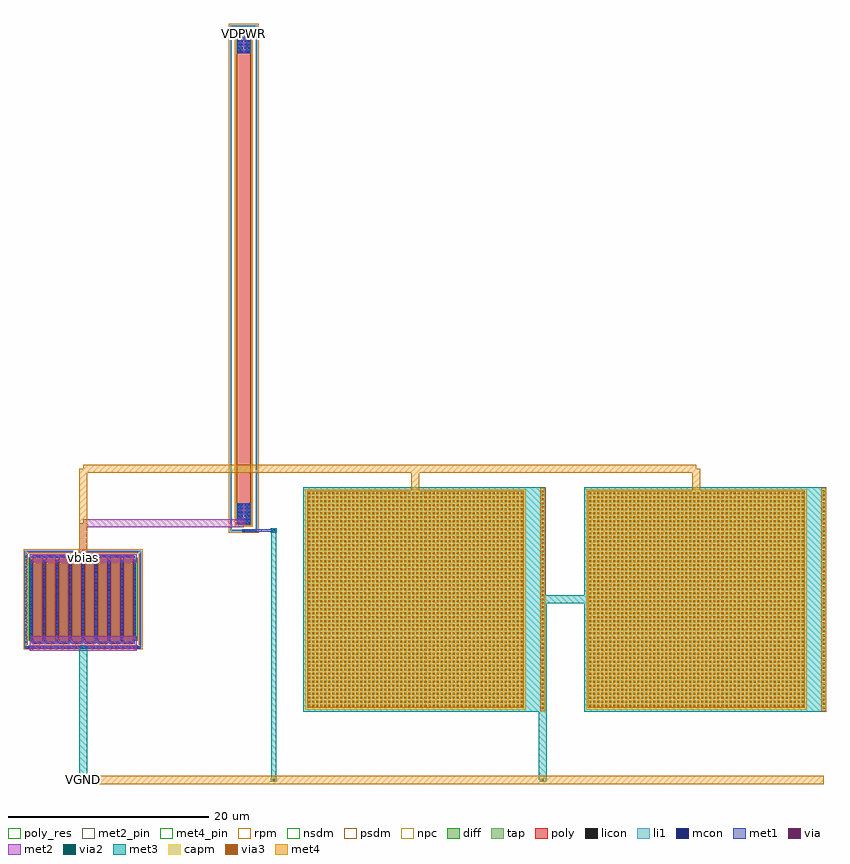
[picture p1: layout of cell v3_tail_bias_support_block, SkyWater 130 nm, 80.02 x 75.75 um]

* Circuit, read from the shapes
.subckt v3_tail_bias_support_block VDPWR VGND vbias
XM1 VGND vbias vbias VGND sky130_fd_pr__nfet_01v8 w=8 l=1 m=8
XC2 vbias VGND sky130_fd_pr__cap_mim_m3_1 w=22 l=22 m=2
XR3 VDPWR vbias VGND sky130_fd_pr__res_high_po w=1.41 l=44.86
.ends

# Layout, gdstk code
import gdstk
lib = gdstk.Library(unit=1e-6, precision=1e-09)
def R(c, l, rs):  # rectangles x0, y0, x1, y1
    for r in rs: c.add(gdstk.rectangle(r[:2], r[2:], *l))
def A(c, l, x, y, w, h, nx, ny, dx, dy):  # array of equal rectangles
    R(c, l, [(x+i*dx, y+j*dy, x+i*dx+w, y+j*dy+h) for i in range(nx) for j in range(ny)])
diff = (65, 20)
tap = (65, 44)
poly_res = (66, 13)
poly = (66, 20)
licon = (66, 44)
li1 = (67, 20)
mcon = (67, 44)
met1 = (68, 20)
via = (68, 44)
met2_pin = (69, 16)
met2 = (69, 20)
via2 = (69, 44)
met3 = (70, 20)
via3 = (70, 44)
met4_pin = (71, 16)
met4 = (71, 20)
rpm = (86, 20)
capm = (89, 44)
nsdm = (93, 44)
psdm = (94, 20)
npc = (95, 20)

v3_tail_bias_support_blo = lib.new_cell('v3_tail_bias_support_block')
R(v3_tail_bias_support_blo, diff, [(188.695,44,199.305,52)])
R(v3_tail_bias_support_blo, tap, [(188.185,43.13,199.815,43.3), (188.185,43.3,188.355,52.7), (199.645,43.3,199.815,52.7), (188.185,52.7,199.815,52.87), (208.645,54.78,211.355,54.95), (208.645,54.95,208.815,105.05), (211.185,54.95,211.355,105.05), (208.645,105.05,211.355,105.22)])
R(v3_tail_bias_support_blo, poly_res, [(209.295,57.51,210.705,102.49)])
A(v3_tail_bias_support_blo, poly, 188.985, 43.56, 1, 8.88, 8, 1, 1.29, 0)
R(v3_tail_bias_support_blo, poly, [(209.295,55.43,210.705,104.57)])
A(v3_tail_bias_support_blo, licon, 188.815, 43.13, 0.17, 0.17, 31, 2, 0.34, 9.57)
A(v3_tail_bias_support_blo, licon, 188.185, 43.665, 0.17, 0.17, 1, 26, 0, 0.34)
A(v3_tail_bias_support_blo, licon, 199.645, 43.665, 0.17, 0.17, 1, 26, 0, 0.34)
A(v3_tail_bias_support_blo, licon, 188.755, 44.175, 0.17, 0.17, 9, 23, 1.29, 0.34)
A(v3_tail_bias_support_blo, licon, 209.235, 54.78, 0.17, 0.17, 5, 2, 0.34, 50.27)
A(v3_tail_bias_support_blo, licon, 208.645, 55.265, 0.17, 0.17, 1, 146, 0, 0.34)
A(v3_tail_bias_support_blo, licon, 211.185, 55.265, 0.17, 0.17, 1, 146, 0, 0.34)
R(v3_tail_bias_support_blo, licon, [(189.23,43.64,189.4,43.81), (189.57,43.64,189.74,43.81), (190.52,43.64,190.69,43.81), (190.86,43.64,191.03,43.81), (191.81,43.64,191.98,43.81), (192.15,43.64,192.32,43.81), (193.1,43.64,193.27,43.81), (193.44,43.64,193.61,43.81), (194.39,43.64,194.56,43.81), (194.73,43.64,194.9,43.81), (195.68,43.64,195.85,43.81), (196.02,43.64,196.19,43.81), (196.97,43.64,197.14,43.81), (197.31,43.64,197.48,43.81), (198.26,43.64,198.43,43.81), (198.6,43.64,198.77,43.81), (189.23,52.19,189.4,52.36), (189.57,52.19,189.74,52.36), (190.52,52.19,190.69,52.36), (190.86,52.19,191.03,52.36), (191.81,52.19,191.98,52.36), (192.15,52.19,192.32,52.36), (193.1,52.19,193.27,52.36), (193.44,52.19,193.61,52.36), (194.39,52.19,194.56,52.36), (194.73,52.19,194.9,52.36), (195.68,52.19,195.85,52.36), (196.02,52.19,196.19,52.36), (196.97,52.19,197.14,52.36), (197.31,52.19,197.48,52.36), (198.26,52.19,198.43,52.36), (198.6,52.19,198.77,52.36), (209.55,55.51,209.74,57.51), (210.26,55.51,210.45,57.51), (209.55,102.49,209.74,104.49), (210.26,102.49,210.45,104.49)])
A(v3_tail_bias_support_blo, li1, 188.755, 43.98, 0.17, 8.04, 9, 1, 1.29, 0)
R(v3_tail_bias_support_blo, li1, [(188.185,43.13,199.815,43.3), (188.185,43.3,188.355,52.7), (199.645,43.3,199.815,52.7), (188.84,43.64,199.16,43.81), (188.84,52.19,199.16,52.36), (188.185,52.7,199.815,52.87), (208.645,54.78,211.355,54.95), (208.645,54.95,208.815,105.05), (211.185,54.95,211.355,105.05), (209.295,55.43,210.705,57.59), (209.295,102.41,210.705,104.57), (208.645,105.05,211.355,105.22)])
A(v3_tail_bias_support_blo, mcon, 188.515, 43.13, 0.17, 0.17, 31, 1, 0.36, 0)
A(v3_tail_bias_support_blo, mcon, 188.755, 44.135, 0.17, 0.17, 9, 22, 1.29, 0.36)
A(v3_tail_bias_support_blo, mcon, 209.375, 55.525, 0.17, 0.17, 4, 6, 0.36, 0.36)
A(v3_tail_bias_support_blo, mcon, 209.375, 102.5, 0.17, 0.17, 4, 6, 0.36, 0.36)
R(v3_tail_bias_support_blo, mcon, [(189.22,43.64,189.39,43.81), (189.58,43.64,189.75,43.81), (190.51,43.64,190.68,43.81), (190.87,43.64,191.04,43.81), (191.8,43.64,191.97,43.81), (192.16,43.64,192.33,43.81), (193.09,43.64,193.26,43.81), (193.45,43.64,193.62,43.81), (194.38,43.64,194.55,43.81), (194.74,43.64,194.91,43.81), (195.67,43.64,195.84,43.81), (196.03,43.64,196.2,43.81), (196.96,43.64,197.13,43.81), (197.32,43.64,197.49,43.81), (198.25,43.64,198.42,43.81), (198.61,43.64,198.78,43.81), (189.22,52.19,189.39,52.36), (189.58,52.19,189.75,52.36), (190.51,52.19,190.68,52.36), (190.87,52.19,191.04,52.36), (191.8,52.19,191.97,52.36), (192.16,52.19,192.33,52.36), (193.09,52.19,193.26,52.36), (193.45,52.19,193.62,52.36), (194.38,52.19,194.55,52.36), (194.74,52.19,194.91,52.36), (195.67,52.19,195.84,52.36), (196.03,52.19,196.2,52.36), (196.96,52.19,197.13,52.36), (197.32,52.19,197.49,52.36), (198.25,52.19,198.42,52.36), (198.61,52.19,198.78,52.36), (209.915,54.78,210.085,54.95)])
A(v3_tail_bias_support_blo, met1, 188.84, 43.055, 0.32, 0.045, 3, 2, 5, 0.275)
A(v3_tail_bias_support_blo, met1, 189.005, 43.61, 0.96, 0.03, 8, 2, 1.29, 0.2)
A(v3_tail_bias_support_blo, met1, 189.97, 43.98, 0.32, 0.32, 4, 1, 2.58, 0)
A(v3_tail_bias_support_blo, met1, 188.725, 44, 0.23, 7.7, 5, 1, 2.58, 0)
A(v3_tail_bias_support_blo, met1, 190.015, 44.3, 0.23, 7.7, 4, 1, 2.58, 0)
A(v3_tail_bias_support_blo, met1, 188.68, 51.7, 0.32, 0.32, 5, 1, 2.58, 0)
A(v3_tail_bias_support_blo, met1, 189.005, 52.16, 0.96, 0.03, 8, 2, 1.29, 0.2)
A(v3_tail_bias_support_blo, met1, 189.325, 52.39, 0.32, 0.09, 8, 1, 1.29, 0)
R(v3_tail_bias_support_blo, met1, [(188.295,43.1,199.705,43.33), (188.84,43.64,199.16,43.81), (188.84,52.19,199.16,52.36), (212.84,54.705,213.16,54.75), (209.855,54.75,213.16,54.98), (212.84,54.98,213.16,55.025), (209.84,55.445,210.16,55.46), (209.345,55.46,210.655,57.565), (209.345,102.435,210.655,104.54), (209.84,104.54,210.16,104.555)])
A(v3_tail_bias_support_blo, via, 188.925, 43.14, 0.15, 0.15, 3, 1, 5, 0)
A(v3_tail_bias_support_blo, via, 190.055, 44.065, 0.15, 0.15, 4, 1, 2.58, 0)
A(v3_tail_bias_support_blo, via, 188.765, 51.785, 0.15, 0.15, 5, 1, 2.58, 0)
A(v3_tail_bias_support_blo, via, 189.41, 52.245, 0.15, 0.15, 8, 1, 1.29, 0)
R(v3_tail_bias_support_blo, via, [(212.925,54.79,213.075,54.94), (209.925,55.53,210.075,55.68), (209.925,104.32,210.075,104.47)])
R(v3_tail_bias_support_blo, met2_pin, [(209.84,104.235,210.16,104.555)])
R(v3_tail_bias_support_blo, met2, [(188.68,42.9,199.32,44.32), (188.68,51.68,199.32,52.48), (193.6,52.48,194.4,55.205), (212.8,54.665,213.2,55.065), (193.6,55.205,210,55.445), (193.6,55.445,210.16,55.605), (194,55.605,210.16,55.765), (194,55.765,210,56.005), (209.84,104.235,210.16,104.555)])
R(v3_tail_bias_support_blo, via2, [(193.9,43.1,194.1,43.3), (193.9,52.1,194.1,52.3), (212.9,54.765,213.1,54.965)])
R(v3_tail_bias_support_blo, met3, [(193.69,29.8,194.31,30), (212.69,29.8,213.31,30.2), (239.51,29.8,240.13,30), (193.6,30,194.4,43.2), (239.42,30,240.22,36.8), (212.75,30.2,213.25,54.665), (215.92,36.8,240.22,47.6), (243.92,36.8,268.08,47.6), (193.69,43.2,194.31,43.4), (215.92,47.6,268.08,48.4), (215.92,48.4,240.08,59.2), (243.92,48.4,268.08,59.2), (193.69,52,194.31,52.4), (212.69,54.665,213.31,55.065)])
A(v3_tail_bias_support_blo, via3, 239.72, 37.1, 0.2, 0.2, 1, 55, 0, 0.4)
A(v3_tail_bias_support_blo, via3, 267.72, 37.1, 0.2, 0.2, 1, 55, 0, 0.4)
A(v3_tail_bias_support_blo, via3, 216.42, 37.3, 0.2, 0.2, 54, 54, 0.4, 0.4)
A(v3_tail_bias_support_blo, via3, 244.42, 37.3, 0.2, 0.2, 54, 54, 0.4, 0.4)
R(v3_tail_bias_support_blo, via3, [(193.9,29.9,194.1,30.1), (212.9,29.9,213.1,30.1), (239.72,29.9,239.92,30.1), (193.9,52.1,194.1,52.3)])
R(v3_tail_bias_support_blo, met4_pin, [(193.8,29.8,194.2,30.2), (193.8,52,194.2,52.4)])
R(v3_tail_bias_support_blo, met4, [(194,29.6,267.82,29.8), (193.8,29.8,267.82,30.2), (194,30.2,267.82,30.4), (239.58,36.86,240.06,59.14), (267.58,36.86,268.06,59.14), (216.315,37.195,237.925,58.805), (244.315,37.195,265.925,58.805), (193.8,52,194.2,52.2), (193.6,52.2,194.4,60.6), (226.72,58.805,227.52,60.6), (254.72,58.805,255.52,60.6), (193.6,60.6,255.52,61), (194,61,255.12,61.4)])
R(v3_tail_bias_support_blo, rpm, [(209.095,55.23,210.905,104.77)])
R(v3_tail_bias_support_blo, capm, [(216.12,37,238.12,59), (244.12,37,266.12,59)])
R(v3_tail_bias_support_blo, nsdm, [(188.57,43.875,199.43,52.125)])
R(v3_tail_bias_support_blo, psdm, [(188.06,43.005,199.94,43.425), (188.06,43.425,188.48,52.575), (199.52,43.425,199.94,52.575), (188.06,52.575,199.94,52.995), (208.52,54.655,211.48,105.345)])
A(v3_tail_bias_support_blo, npc, 189.13, 43.54, 0.71, 0.37, 8, 2, 1.29, 8.55)
R(v3_tail_bias_support_blo, npc, [(209.2,55.335,210.8,104.665)])
v3_tail_bias_support_blo.add(gdstk.Label('VDPWR', (210,104.395), layer=69, texttype=5))
v3_tail_bias_support_blo.add(gdstk.Label('vbias', (194,52.2), layer=71, texttype=5))
v3_tail_bias_support_blo.add(gdstk.Label('VGND', (194,30), layer=71, texttype=5))

lib.write_gds('v3_tail_bias_support_block.gds')
